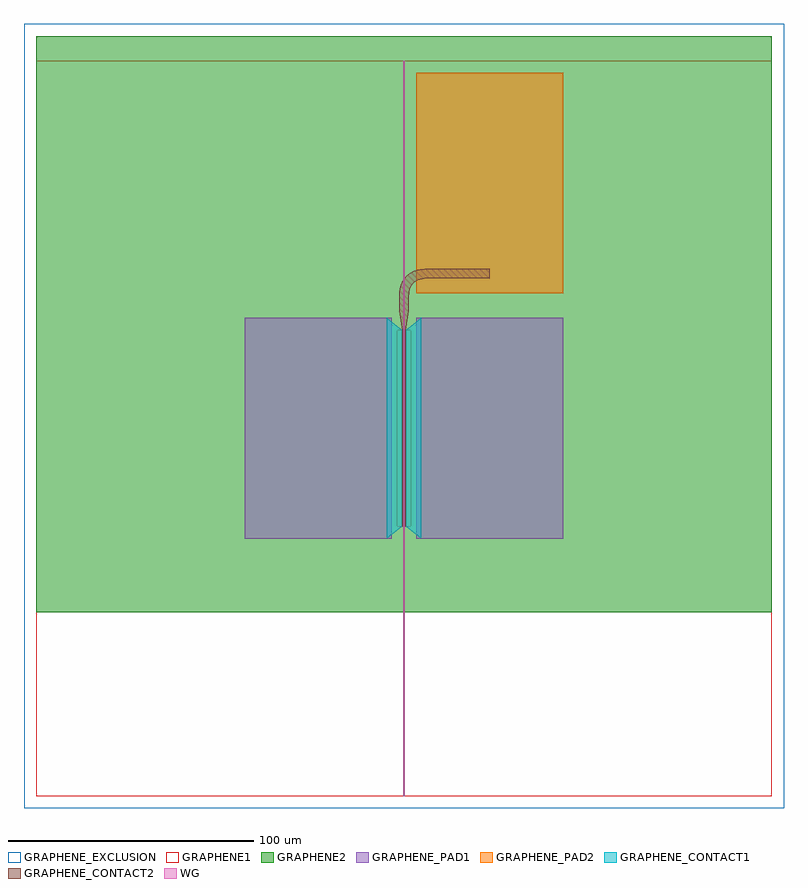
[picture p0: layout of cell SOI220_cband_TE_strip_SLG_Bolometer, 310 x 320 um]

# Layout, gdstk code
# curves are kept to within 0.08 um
import gdstk
lib = gdstk.Library(unit=1e-6, precision=1e-09)
def R(c, l, rs):  # rectangles x0, y0, x1, y1
    for r in rs: c.add(gdstk.rectangle(r[:2], r[2:], *l))
def P(c, l, *ps):  # polygons
    for p in ps: c.add(gdstk.Polygon(p, *l))
WG = (3, 0)
GRAPHENE1 = (161, 2)
GRAPHENE2 = (162, 2)
GRAPHENE_CONTACT1 = (163, 2)
GRAPHENE_CONTACT2 = (164, 2)
GRAPHENE_PAD1 = (165, 2)
GRAPHENE_PAD2 = (166, 2)
GRAPHENE_EXCLUSION = (169, 1)

soi220_cband_te_strip_sl = lib.new_cell('SOI220_cband_TE_strip_SLG_Bolometer')
R(soi220_cband_te_strip_sl, WG, [(-0.225,-150,0.225,150)])
P(soi220_cband_te_strip_sl, GRAPHENE1, [(-150,-150),(-150,40),(-2.75,40),(-2.75,-40),(2.75,-40),(2.75,40),(-150,40),(-150,150),(150,150),(150,-150)])
R(soi220_cband_te_strip_sl, GRAPHENE2, [(-150,-75,150,160)])
P(soi220_cband_te_strip_sl, GRAPHENE_CONTACT1, [(7,-45),(0.75,-40),(0.75,40),(7,45)],
  [(-7,-45),(-7,45),(-0.75,40),(-0.75,-40)])
R(soi220_cband_te_strip_sl, GRAPHENE_CONTACT2, [(-0.675,-40,0.675,40)])
P(soi220_cband_te_strip_sl, GRAPHENE_CONTACT2, [(-0.675,40),(-2,48),(2,48),(0.675,40)],
  [(-2,48),(-1.932,55.131),(-1.701,56.912),(-1.267,58.518),(-0.361,60.387),(0.773,61.852),(2.172,63.067),(3.781,63.986),(6.088,64.701),(8.935,64.985),(35,65),(35,61),(9.229,60.991),(7.01,60.804),(5.414,60.334),(4.363,59.714),(3.477,58.876),(2.799,57.861),(2.367,56.75),(2.026,54.311),(2,48)])
R(soi220_cband_te_strip_sl, GRAPHENE_PAD1, [(-65,-45,-5,45), (5,-45,65,45)])
R(soi220_cband_te_strip_sl, GRAPHENE_PAD2, [(5,55,65,145)])
R(soi220_cband_te_strip_sl, GRAPHENE_EXCLUSION, [(-155,-155,155,165)])

lib.write_gds('SOI220_cband_TE_strip_SLG_Bolometer.gds')
